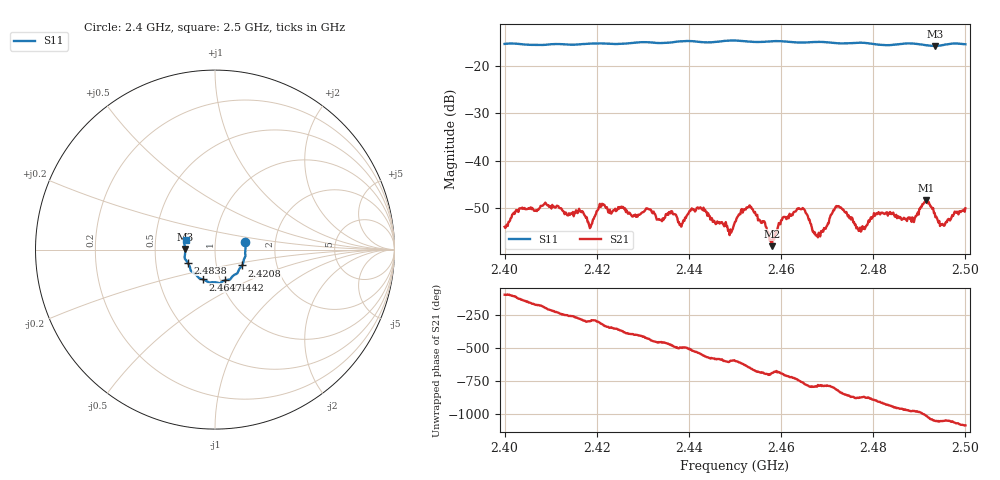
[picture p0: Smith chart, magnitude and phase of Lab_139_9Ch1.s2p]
# Hz S RI R 50
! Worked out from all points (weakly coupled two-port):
!   601 points, 2.4 GHz to 2.5 GHz, reference 50 ohm
!   highest |S21| = -48.44 dB at 2.4915 GHz (marker M1); lowest = -58.2 dB at 2.458 GHz (marker M2)
!   lowest |S11| = -15.6 dB at 2.4935 GHz (marker M3), VSWR 1.40, Z = 35.8 + j0.193 ohm
!   |S11| at or under -10 dB: start of sweep to end of sweep
!   S12 and S22 are empty: the file has one direction only
!   S11 on the Smith chart (normalised r, x): 2.4 GHz: 1.40, +0.12; 2.4208 GHz: 1.33, -0.24; 2.4442 GHz: 1.05, -0.37; 2.4647 GHz: 0.83, -0.29; 2.4838 GHz: 0.73, -0.11; 2.5 GHz: 0.71, +0.08
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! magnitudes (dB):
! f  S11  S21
! 2.4 GHz  -15.2  -54.1
! 2.4037 GHz  -15.3  -50.2
! 2.4167 GHz  -15.3  -51.0
! 2.4185 GHz  -15.2  -54.4
! 2.4208 GHz  -15.1  -49.8
! 2.4333 GHz  -15.0  -52.5
! 2.4442 GHz  -14.9  -51.2
! 2.45 GHz  -14.5  -53.0
! 2.4533 GHz  -14.7  -49.9
! 2.458 GHz  -14.7  -58.2
! 2.4647 GHz  -14.9  -50.1
! 2.4667 GHz  -14.8  -54.2
! 2.4683 GHz  -14.8  -55.8
! 2.4722 GHz  -15.1  -49.8
! 2.477 GHz  -15.0  -54.9
! 2.4833 GHz  -15.5  -51.1
! 2.4838 GHz  -15.4  -51.4
! 2.4885 GHz  -15.1  -52.1
! 2.4915 GHz  -15.5  -48.4
! 2.4935 GHz  -15.6  -52.0
! 2.495 GHz  -15.5  -53.5
! 2.5 GHz  -15.3  -50.1
